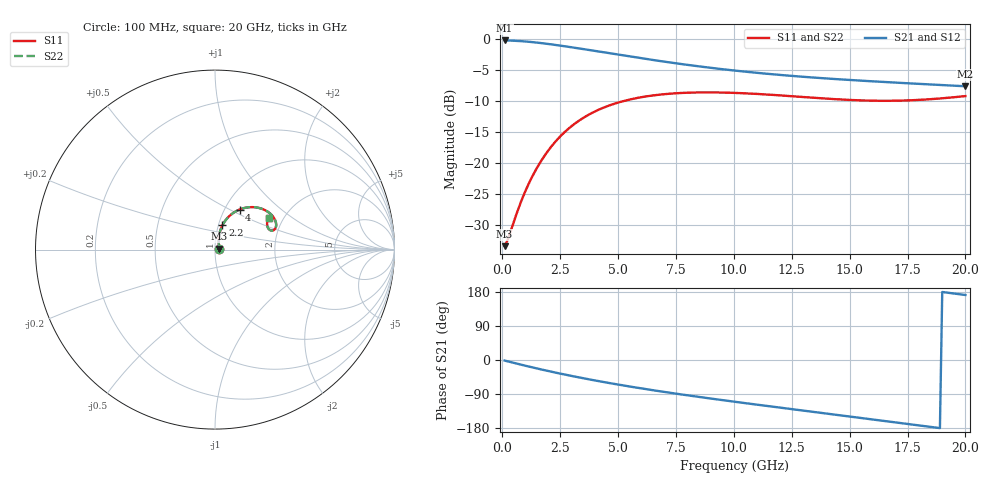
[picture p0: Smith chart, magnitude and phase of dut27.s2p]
! Created with skrf 1.9.0 (http://scikit-rf.org).
# GHz S RI R 50.0
!freq ReS11 ImS11 ReS21 ImS21 ReS12 ImS12 ReS22 ImS22
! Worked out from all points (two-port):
!   200 points, 100 MHz to 20 GHz, reference 50 ohm
!   highest |S21| = -0.18 dB at 100 MHz (marker M1); lowest = -7.6 dB at 20 GHz (marker M2)
!   |S21| within 3 dB of the highest: start of sweep to 6.235 GHz
!   lowest |S11| = -33.4 dB at 100 MHz (marker M3), VSWR 1.04, Z = 52.1 + j0.541 ohm
!   |S11| at or under -10 dB: start of sweep to 5.203 GHz
!   |S22| runs from -33.4 to -8.6 dB; largest |S21 - S12| = 2.2e-15
!   S11 on the Smith chart (normalised r, x): 100 MHz: 1.04, +0.01; 2.2 GHz: 1.05, +0.29; 4 GHz: 1.17, +0.56; 20 GHz: 1.68, +0.68
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0.1  0.0208 0.00519  0.9787 -0.0263  0.9787 -0.0263  0.0208 0.00519
0.2  0.0208 0.0105  0.9769 -0.0526  0.9769 -0.0526  0.0208 0.0105
0.3  0.0208 0.0159  0.9741 -0.0788  0.9741 -0.0788  0.0208 0.0159
0.8  0.0207 0.0438  0.945 -0.2044  0.945 -0.2044  0.0207 0.0438
1.2  0.022 0.0686  0.906 -0.2961  0.906 -0.2961  0.022 0.0686
1.7  0.0284 0.1022  0.8427 -0.3964  0.8427 -0.3964  0.0284 0.1022
2.2  0.0417 0.1362  0.7686 -0.4796  0.7686 -0.4796  0.0417 0.1362
2.8  0.0669 0.1734  0.672 -0.5576  0.672 -0.5576  0.0669 0.1734
3.5  0.1057 0.207  0.5561 -0.6216  0.5561 -0.6216  0.1057 0.207
4  0.1366 0.2231  0.4745 -0.6519  0.4745 -0.6519  0.1366 0.2231
4.6  0.174 0.234  0.3803 -0.6739  0.3803 -0.6739  0.174 0.234
5.3  0.2151 0.2365  0.2775 -0.6835  0.2775 -0.6835  0.2151 0.2365
6  0.2511 0.2306  0.1836 -0.6795  0.1836 -0.6795  0.2511 0.2306
6.8  0.2844 0.217  0.0877 -0.6626  0.0877 -0.6626  0.2844 0.217
8.4  0.3261 0.1799  -0.0703 -0.6039  -0.0703 -0.6039  0.3261 0.1799
10.1  0.3407 0.1422  -0.1972 -0.5219  -0.1972 -0.5219  0.3407 0.1422
11.7  0.3359 0.1174  -0.287 -0.4356  -0.287 -0.4356  0.3359 0.1174
13.4  0.3209 0.1061  -0.3575 -0.3379  -0.3575 -0.3379  0.3209 0.1061
15.1  0.3041 0.1104  -0.4051 -0.2354  -0.4051 -0.2354  0.3041 0.1104
16.7  0.2929 0.1264  -0.4291 -0.1365  -0.4291 -0.1365  0.2929 0.1264
18.3  0.2904 0.1499  -0.4323 -0.0379  -0.4323 -0.0379  0.2904 0.1499
20  0.2996 0.1773  -0.4132 0.0615  -0.4132 0.0615  0.2996 0.1773
